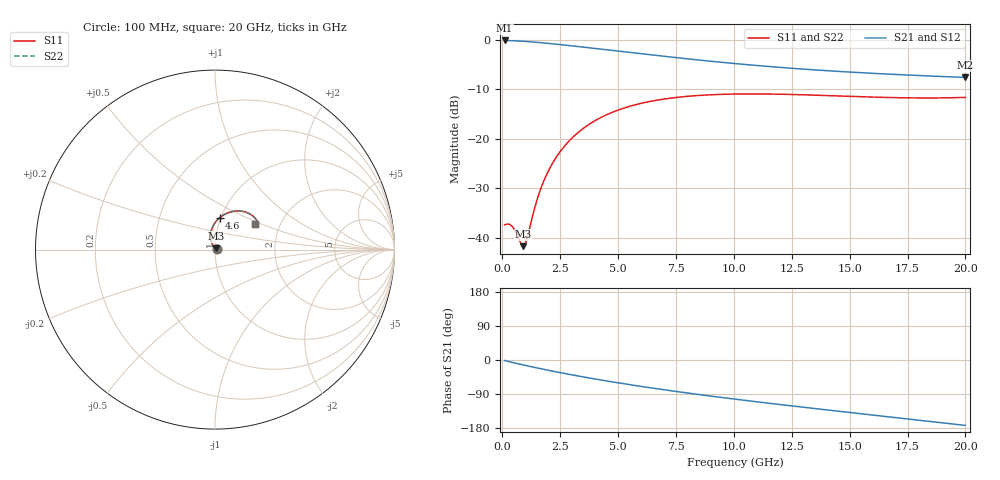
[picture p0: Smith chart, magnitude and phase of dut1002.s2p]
! Touchstone file exported from HFSS 2024.1.0
!  File:  C:/UserFiles/LocalFiles/RDL_TSV_Batchsim/temp_RDL_TSV_1002_1780076495.aedt
!  Generated:  01:56:23 AM May 30, 2026
!  Design:  RDL_TSV
!  Project:  temp_RDL_TSV_1002_1780076495
!  Setup:  Setup1
!  Solution:  Sweep
! Variables:
!  dtsv = 8.16um
!  hbump = 3um
!  htsv = 67.44um
!  ldown = 467.2um
!  lrdl = 269.97um
!  p = 40
!  p1 = 47.87um
!  rhole = 10um
!  subl = 2481.48um
!  t = 450um
!  tdown = 2.97um
!  trdl = 2.91um
!  viad = 10um
!  wdown = 29.16um
!  wrdl = 19.79um
!  xbump = 18um
# GHz S MA R 50.000000
! Terminal data exported
! Port[1] = TM1_1_T1
! Port[2] = TM1_4_T1
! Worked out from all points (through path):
!   200 points, 100 MHz to 20 GHz, reference 50 ohm
!   highest |S21| = -0.12 dB at 100 MHz (marker M1); lowest = -7.6 dB at 20 GHz (marker M2)
!   group delay of S21, straight-line fit = 22.7 ps
!   lowest |S11| = -41.7 dB at 900 MHz (marker M3), VSWR 1.02, Z = 50.5 + j0.673 ohm
!   |S11| at or under -10 dB: start of sweep to end of sweep
!   |S22| runs from -41.7 to -10.9 dB; largest |S21 - S12| = 9.9e-15
!   S11 on the Smith chart (normalised r, x): 100 MHz: 1.03, +0.00; 4.6 GHz: 0.99, +0.36; 20 GHz: 1.49, +0.45
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0.1  0.0135 4.5  0.9862 -1.5  0.9862 -1.5  0.0135 4.5
! Gamma 0 0 0 0
! Port Impedance 50 0 50 0
0.4  0.01323 11.5  0.9814 -5.9  0.9814 -5.9  0.01323 11.5
0.6  0.0112 18.4  0.9768 -8.7  0.9768 -8.7  0.01121 18.4
0.8  0.008765 37.4  0.9712 -11.5  0.9712 -11.5  0.008771 37.4
0.9  0.008206 54.4  0.9681 -12.9  0.9681 -12.9  0.008211 54.3
1  0.008696 73.8  0.9647 -14.3  0.9647 -14.3  0.008698 73.7
1.1  0.01037 90.1  0.9611 -15.6  0.9611 -15.6  0.01037 90.1
1.4  0.02002 112.3  0.949 -19.6  0.949 -19.6  0.02 112.2
1.6  0.02847 115.8  0.9402 -22.3  0.9402 -22.3  0.02844 115.8
2  0.04777 114.9  0.9211 -27.3  0.9211 -27.3  0.04773 114.9
2.3  0.06344 111.8  0.9061 -31.0  0.9061 -31.0  0.06339 111.8
2.7  0.085 106.7  0.8856 -35.7  0.8856 -35.7  0.08493 106.7
3.5  0.1275 95.7  0.8444 -44.7  0.8444 -44.7  0.1273 95.7
4.6  0.179 81.8  0.7894 -56.2  0.7894 -56.2  0.1788 81.8
5.6  0.2161 71.0  0.742 -66.0  0.742 -66.0  0.2158 71.0
6.8  0.2482 60.2  0.6896 -76.9  0.6896 -76.9  0.2479 60.1
8.4  0.2733 48.8  0.6282 -90.4  0.6282 -90.4  0.2729 48.7
10.1  0.2835 39.8  0.5743 -103.7  0.5743 -103.7  0.283 39.8
11.7  0.283 33.9  0.5333 -115.5  0.5333 -115.5  0.2824 33.9
13.4  0.2765 30.0  0.4985 -127.5  0.4985 -127.5  0.2759 30.0
16.7  0.2612 28.4  0.45 -150.1  0.45 -150.1  0.2605 28.5
20  0.262 32.3  0.417 -172.6  0.417 -172.6  0.2614 32.4
